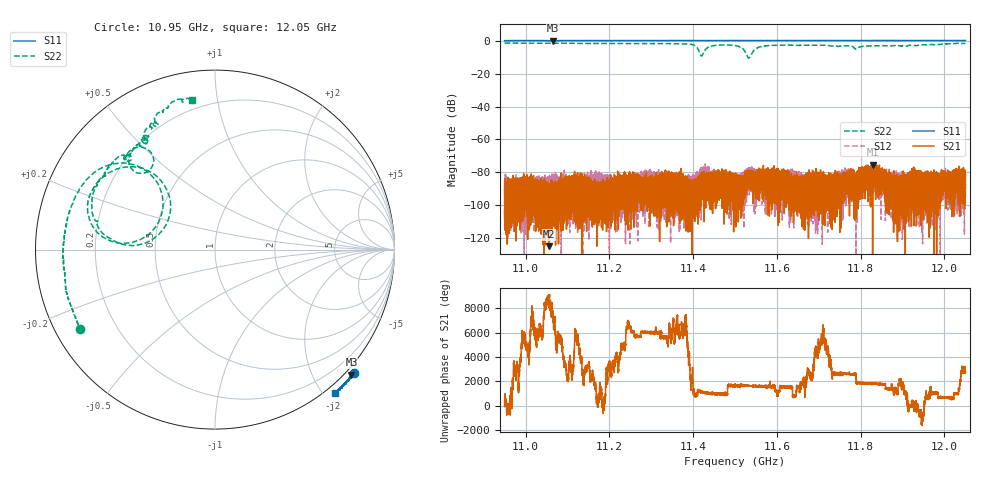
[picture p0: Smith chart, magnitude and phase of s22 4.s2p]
!Agilent Technologies,E8362C,MY49020356,A.09.42.23
!Agilent E8362C: A.09.42.23
!Date: Saturday, September 11, 2021 04:13:39
!Correction: S11(Full 2 Port(1,2))
!S21(Full 2 Port(1,2))
!S12(Full 2 Port(1,2))
!S22(Full 2 Port(1,2))
!S2P File: Measurements: S11, S21, S12, S22:
# Hz S  MA  R 50
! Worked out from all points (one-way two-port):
!   32001 points, 10.95 GHz to 12.05 GHz, reference 50 ohm
!   highest |S21| = -75.44 dB at 11.83 GHz (marker M1); lowest = -125.1 dB at 11.06 GHz (marker M2)
!   lowest |S11| = 0.3 dB at 11.06 GHz (marker M3)
!   |S11| at or under -10 dB: nowhere
!   |S22| runs from -10.3 to -1.2 dB; largest |S21 - S12| = 0.00016
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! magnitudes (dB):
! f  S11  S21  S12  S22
! 10.95 GHz  0.3  -104.4  -93.6  -1.2
! 11.06 GHz  0.3  -125.1  -88.1  -1.3
! 11.06 GHz  0.3  -90.8  -87.5  -1.3
! 11.13 GHz  0.3  -85.8  -90.2  -1.4
! 11.32 GHz  0.3  -82.2  -81.0  -1.5
! 11.4 GHz  0.4  -89.5  -94.8  -2.1
! 11.41 GHz  0.3  -93.3  -86.8  -3.2
! 11.42 GHz  0.3  -90.6  -83.7  -7.9
! 11.42 GHz  0.3  -83.6  -83.7  -9.1
! 11.43 GHz  0.3  -84.4  -77.8  -4.2
! 11.44 GHz  0.3  -87.8  -81.0  -3.0
! 11.5 GHz  0.4  -87.2  -93.7  -2.7
! 11.52 GHz  0.4  -86.5  -84.7  -4.2
! 11.53 GHz  0.4  -81.3  -82.0  -10.3
! 11.55 GHz  0.3  -85.2  -83.8  -4.6
! 11.57 GHz  0.3  -89.0  -83.0  -3.0
! 11.68 GHz  0.4  -85.2  -91.6  -2.5
! 11.77 GHz  0.3  -88.5  -84.7  -2.8
! 11.79 GHz  0.4  -108.1  -85.4  -4.8
! 11.83 GHz  0.4  -75.4  -81.7  -2.9
! 11.87 GHz  0.4  -82.9  -88.4  -3.0
! 12.05 GHz  0.4  -82.3  -95.3  -1.5
